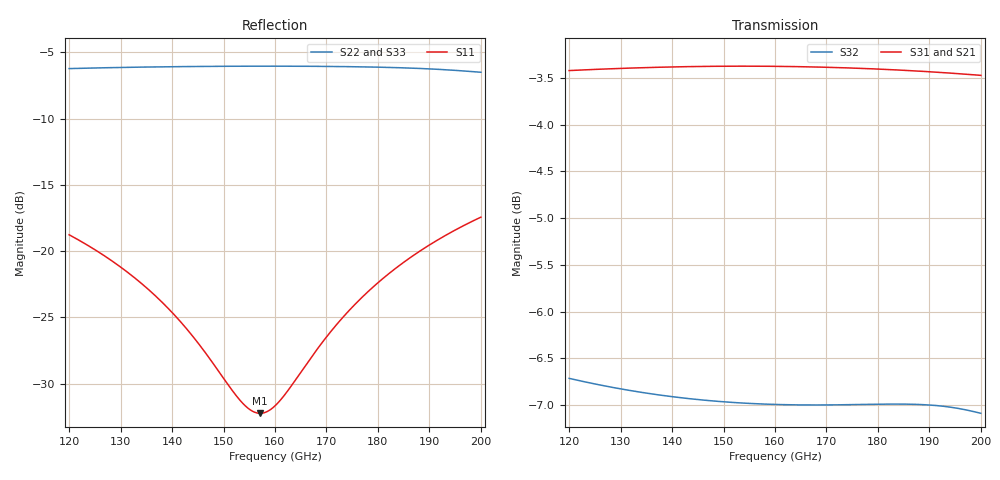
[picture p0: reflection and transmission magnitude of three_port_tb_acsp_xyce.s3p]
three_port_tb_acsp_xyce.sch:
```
v {xschem version=3.4.8RC file_version=1.3}
G {}
K {}
V {}
S {}
F {}
E {}
T {SPDX-FileCopyrightText: 2026 Simon Dorrer
SPDX-License-Identifier: Apache-2.0
} 1820 -140 0 0 0.4 0.4 {}
T {Xyce Testbench for AC S-parameter analysis - Three-Port} 600 -1690 0 0 1 1 {}
N 1000 -580 1000 -520 {lab=v1}
N 1000 -460 1000 -400 {lab=GND}
N 920 -580 1000 -580 {lab=v1}
N 1000 -580 1080 -580 {lab=v1}
N 1360 -540 1360 -500 {lab=v2}
N 1280 -540 1360 -540 {lab=v2}
N 1360 -440 1360 -400 {lab=GND}
N 1360 -540 1400 -540 {lab=v2}
N 1560 -440 1560 -400 {lab=GND}
N 1560 -620 1600 -620 {lab=v3}
N 1560 -620 1560 -500 {lab=v3}
N 1280 -620 1560 -620 {lab=v3}
C {devices/code_shown.sym} 180 -1430 0 0 {name=XYCE
only_toplevel=true
lock=false
value="
.include ../../../netlist/xyce/three_port.cir
.include ../sim_range.cir

* User Constants
* f_min / f_max come from ../sim_range.cir (.param),
* auto-synced by snp2le to the band it fitted.
* edit that file for a standalone run.

* Xschem's ground symbol netlists node GND, which Xyce takes as ground only with this.
.PREPROCESS REPLACEGROUND TRUE

* AC S-Parameter Analysis
* Xyce writes S-parameters only as a Touchstone file, which snp2le imports.
.AC LIN 1001 \{f_min\} \{f_max\}
.LIN SPARCALC=1 FORMAT=TOUCHSTONE2 DATAFORMAT=RI FILE=../plot_simulations/data/@schname\\\\.s3p
"}
C {title-3.sym} 0 0 0 0 {name=l2 author="Simon Dorrer" rev=1.0 lock=true}
C {lab_pin.sym} 1400 -540 0 1 {name=p3 sig_type=std_logic lab=v2}
C {devices/lab_pin.sym} 920 -580 0 0 {name=l19 sig_type=std_logic lab=v1
}
C {devices/gnd.sym} 1000 -400 0 0 {name=l39 lab=GND}
C {devices/vsource.sym} 1000 -490 0 1 {name=P1 value="port=1 z0=50"
}
C {devices/gnd.sym} 1360 -400 0 0 {name=l3 lab=GND}
C {devices/launcher.sym} 1860 -1420 0 0 {name=h2
descr="Simulate Xyce"
tclcommand="
# Setup the default simulation commands if not already set up
# for example by already launched simulations.
set_sim_defaults

# change the simulator to be used (#3 in spice category is Xyce batch)
set sim(spice,default) 3
xschem set netlist_type spice

# run netlist and simulation
xschem netlist
simulate
"}
C {devices/vsource.sym} 1360 -470 0 0 {name=P2 value="port=2 z0=50"
}
C {three_port.sym} 1180 -580 0 0 {name=x1}
C {lab_pin.sym} 1600 -620 0 1 {name=p1 sig_type=std_logic lab=v3}
C {devices/gnd.sym} 1560 -400 0 0 {name=l1 lab=GND}
C {devices/vsource.sym} 1560 -470 0 0 {name=P3 value="port=3 z0=50"
}
```
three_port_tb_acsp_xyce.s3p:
[Version] 2.0
# Hz S RI R 50
[Number of Ports] 3
[Reference] 50 50 50
!  Freq  ReS11  ImS11  ReS12  ImS12  ReS13  ImS13  ReS21  ImS21  ReS22  ImS22  ReS23  ImS23  ReS31  ImS31  ReS32  ImS32  ReS33  ImS33
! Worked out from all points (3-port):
!   1001 points, 120 GHz to 200 GHz, reference 50 ohm
!   strongest paths, dB at 120 GHz, 140 GHz, 160 GHz, 180 GHz, 200 GHz:
!     S31: -3.4, -3.4, -3.4, -3.4, -3.5
!     S21: -3.4, -3.4, -3.4, -3.4, -3.5
!     S32: -6.7, -6.9, -7.0, -7.0, -7.1
!   lowest |S11| = -32.2 dB at 157.1 GHz (marker M1), VSWR 1.05, Z = 52.5 - j0.0121 ohm
!   |S11| at or under -10 dB: start of sweep to end of sweep
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[Number of Frequencies] 5
[Network Data]
1.2e11  -0.02 0.1136  0.2565 -0.6234  0.2566 -0.6236
        0.2565 -0.6234  0.4633 0.1554  -0.358 -0.2915
        0.2566 -0.6236  -0.358 -0.2915  0.4629 0.1551
1.3672e11  0.0106 0.0671  0.146 -0.6608  0.146 -0.661
           0.146 -0.6608  0.491 0.0687  -0.4191 -0.1709
           0.146 -0.661  -0.4191 -0.1709  0.4906 0.0685
1.5712e11  0.0244 -0.000115  0.00317 -0.6777  0.0031 -0.6779
           0.00317 -0.6777  0.4977 -0.0365  -0.4472 -0.0119
           0.0031 -0.6779  -0.4472 -0.0119  0.4972 -0.0367
1.7928e11  0.00719 -0.0736  -0.1521 -0.6582  -0.1522 -0.6583
           -0.1521 -0.6582  0.4724 -0.1482  -0.4168 0.162
           -0.1522 -0.6583  -0.4168 0.162  0.4719 -0.1484
2e11  -0.0369 -0.1292  -0.2873 -0.6056  -0.2874 -0.6056
      -0.2873 -0.6056  0.4099 -0.2366  -0.3242 0.3007
      -0.2874 -0.6056  -0.3242 0.3007  0.4092 -0.2367
[End]
